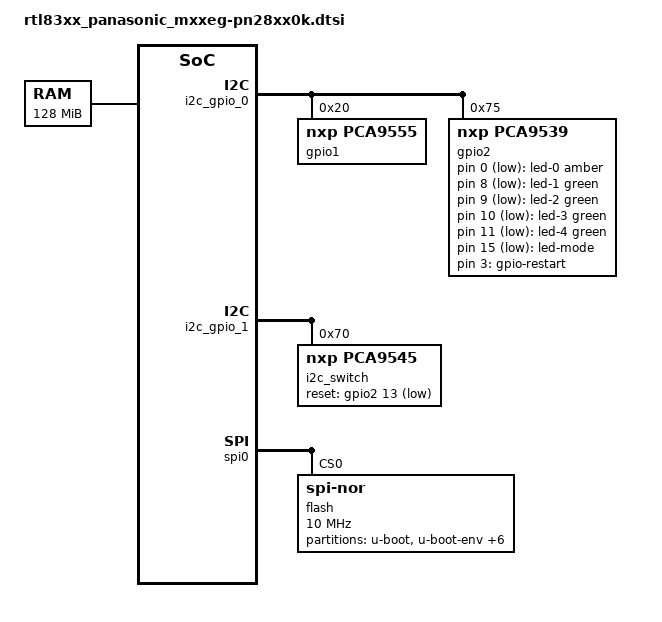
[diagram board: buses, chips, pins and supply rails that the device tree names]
// SPDX-License-Identifier: GPL-2.0-or-later OR MIT

#include <dt-bindings/input/input.h>
#include <dt-bindings/gpio/gpio.h>
#include <dt-bindings/leds/common.h>

/ {
	chosen {
		stdout-path = "serial0:9600n8";
	};

	memory@0 {
		device_type = "memory";
		reg = <0x0 0x8000000>;
	};

	leds: leds {
		compatible = "gpio-leds";

		led-0 {
			gpios = <&gpio2 0 GPIO_ACTIVE_LOW>;
			color = <LED_COLOR_ID_AMBER>;
			function = LED_FUNCTION_FAULT;
		};

		led-1 {
			gpios = <&gpio2 8 GPIO_ACTIVE_LOW>;
			color = <LED_COLOR_ID_GREEN>;
			function = LED_FUNCTION_INDICATOR;
			function-enumerator = <1>;
		};

		led-2 {
			gpios = <&gpio2 9 GPIO_ACTIVE_LOW>;
			color = <LED_COLOR_ID_GREEN>;
			function = LED_FUNCTION_INDICATOR;
			function-enumerator = <2>;
		};

		led-3 {
			gpios = <&gpio2 10 GPIO_ACTIVE_LOW>;
			color = <LED_COLOR_ID_GREEN>;
			function = LED_FUNCTION_INDICATOR;
			function-enumerator = <3>;
		};

		led-4 {
			gpios = <&gpio2 11 GPIO_ACTIVE_LOW>;
			color = <LED_COLOR_ID_GREEN>;
			function = LED_FUNCTION_INDICATOR;
			function-enumerator = <4>;
		};
	};

	keys {
		compatible = "gpio-keys";

		led_mode {
			label = "led-mode";
			gpios = <&gpio2 15 GPIO_ACTIVE_LOW>;
			linux,code = <BTN_0>;
		};
	};

	gpio-restart {
		compatible = "gpio-restart";
		gpios = <&gpio2 3 GPIO_ACTIVE_HIGH>;
	};

	i2c_gpio_0: i2c-gpio-0 {
		compatible = "i2c-gpio";
		i2c-gpio,delay-us = <2>;
		#address-cells = <1>;
		#size-cells = <0>;

		gpio1: gpio@20 {
			compatible = "nxp,pca9555";
			reg = <0x20>;
			gpio-controller;
			#gpio-cells = <2>;
		};

		gpio2: gpio@75 {
			compatible = "nxp,pca9539";
			reg = <0x75>;
			gpio-controller;
			#gpio-cells = <2>;

			/*
			 * GPIO14 (IO1_6): Shift Register RESET (port LED)
			 * - Switch-M8eG  PN28080K:  3x 74HC164
			 * - Switch-M16eG PN28160K:  4x 74HC164
			 * - Switch-M24eG PN28240K:  6x 74HC164
			 * - Switch-M48eG PN28480K: 12x 74HC164
			 */
			portled_sregister_reset {
				gpio-hog;
				gpios = <14 GPIO_ACTIVE_HIGH>;
				output-high;
				line-name = "portled-sregister-reset";
			};
		};
	};

	i2c_gpio_1: i2c-gpio-1 {
		compatible = "i2c-gpio";
		i2c-gpio,delay-us = <2>;
		#address-cells = <1>;
		#size-cells = <0>;

		i2c_switch: i2c-switch@70 {
			compatible = "nxp,pca9545";
			reset-gpios = <&gpio2 13 GPIO_ACTIVE_LOW>;
			reg = <0x70>;
			#address-cells = <1>;
			#size-cells = <0>;
		};
	};
};

&spi0 {
	status = "okay";

	flash@0 {
		compatible = "jedec,spi-nor";
		reg = <0>;
		spi-max-frequency = <10000000>;

		partitions {
			compatible = "fixed-partitions";
			#address-cells = <1>;
			#size-cells = <1>;

			partition@0 {
				label = "u-boot";
				reg = <0x0 0x80000>;
				read-only;
			};

			partition@80000 {
				label = "u-boot-env";
				reg = <0x80000 0x10000>;
			};

			partition@90000 {
				label = "u-boot-env2";
				reg = <0x90000 0x10000>;
			};

			partition@a0000 {
				label = "sysinfo";
				reg = <0xa0000 0x60000>;
				read-only;
			};

			/*
			 * Filesystem area in stock firmware
			 * (0x100000-0x1DFFFFF)
			 *
			 * stock firmware images are required to pass
			 * the checking by the U-Boot, also for OpenWrt
			 *
			 * in OpenWrt:
			 * - 0x100000-0xDFFFFF (13M): stock images
			 * - 0xE00000-0x1DFFFFF(16M): OpenWrt image
			 */
			partition@100000 {
				label = "fs_reserved";
				reg = <0x100000 0xd00000>;
			};

			partition@e00000 {
				compatible = "denx,uimage";
				label = "firmware";
				reg = <0xe00000 0x1000000>;
			};

			partition@1e00000 {
				label = "vlog_data";
				reg = <0x1e00000 0x100000>;
				read-only;
			};

			partition@1f00000 {
				label = "elog_data";
				reg = <0x1f00000 0x100000>;
				read-only;
			};
		};
	};
};
